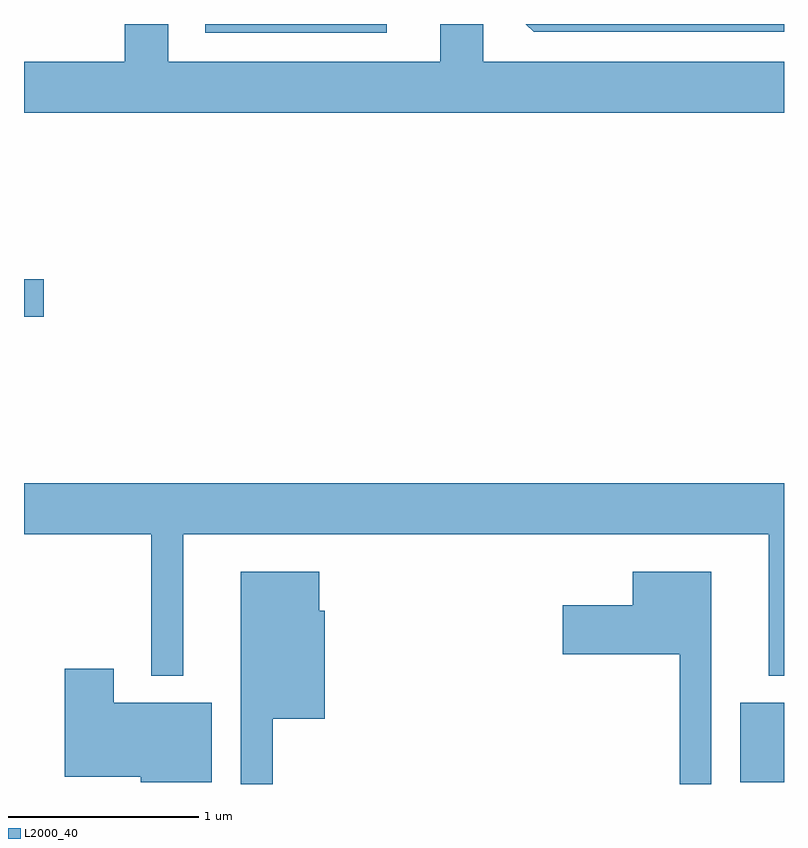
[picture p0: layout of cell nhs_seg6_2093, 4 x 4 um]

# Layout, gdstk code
import gdstk
lib = gdstk.Library(unit=1e-6, precision=1e-09)
def R(c, l, rs):  # rectangles x0, y0, x1, y1
    for r in rs: c.add(gdstk.rectangle(r[:2], r[2:], *l))
def P(c, l, *ps):  # polygons
    for p in ps: c.add(gdstk.Polygon(p, *l))
L2000_40 = (2000, 40)

nhs_seg6_2093 = lib.new_cell('nhs_seg6_2093')
R(nhs_seg6_2093, L2000_40, [(251.381,1664.171,251.611,1664.589), (247.611,1666.621,247.714,1666.819), (248.566,1668.116,249.519,1668.162)])
P(nhs_seg6_2093, L2000_40, [(251.611,1667.964),(250.029,1667.964),(250.029,1668.162),(249.801,1668.162),(249.801,1667.964),(248.369,1667.964),(248.369,1668.162),(248.141,1668.162),(248.141,1667.964),(247.611,1667.964),(247.611,1667.696),(251.611,1667.696)],
  [(251.611,1668.162),(250.253,1668.162),(250.294,1668.121),(251.611,1668.121)],
  [(248.449,1665.476),(251.531,1665.476),(251.531,1664.733),(251.611,1664.733),(251.611,1665.744),(247.611,1665.744),(247.611,1665.476),(248.281,1665.476),(248.281,1664.733),(248.449,1664.733)],
  [(248.919,1664.506),(249.194,1664.506),(249.194,1665.074),(249.164,1665.074),(249.164,1665.279),(248.751,1665.279),(248.751,1664.162),(248.919,1664.162)],
  [(251.229,1665.279),(250.816,1665.279),(250.816,1665.104),(250.446,1665.104),(250.446,1664.846),(251.061,1664.846),(251.061,1664.162),(251.229,1664.162)],
  [(248.599,1664.589),(248.084,1664.589),(248.084,1664.769),(247.826,1664.769),(247.826,1664.201),(248.226,1664.201),(248.226,1664.171),(248.599,1664.171)])

lib.write_gds('nhs_seg6_2093.gds')
